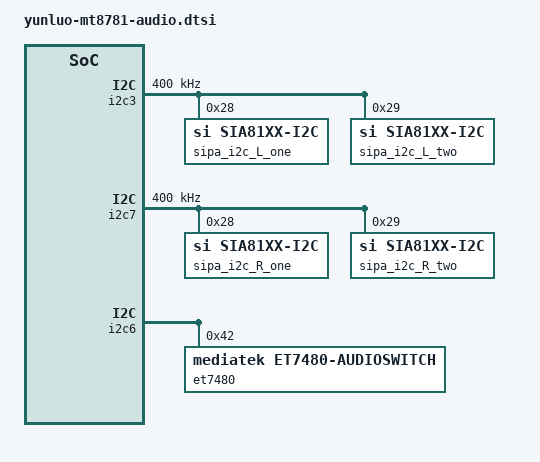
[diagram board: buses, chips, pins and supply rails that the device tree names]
/* Copyright (c) 2018, The Linux Foundation. All rights reserved.
 *
 * This program is free software; you can redistribute it and/or modify
 * it under the terms of the GNU General Public License version 2 and
 * only version 2 as published by the Free Software Foundation.
 *
 * This program is distributed in the hope that it will be useful,
 * but WITHOUT ANY WARRANTY; without even the implied warranty of
 * MERCHANTABILITY or FITNESS FOR A PARTICULAR PURPOSE.  See the
 * GNU General Public License for more details.
 */


&odm {
	si_pa_L_one: si_pa_L_one{
		compatible = "si,sia81xx";
		si,si_pa_type = "sia81x9";
		si,si_pa_disable_pin = <1>;
		channel_num = <0>;
                owi_mode = <1>;
		};
	si_pa_L_two: si_pa_L_two{
		compatible = "si,sia81xx";
		si,si_pa_type = "sia81x9";
		si,si_pa_disable_pin = <1>;
		channel_num = <1>;
                owi_mode = <1>;
		};
	si_pa_R_one: si_pa_R_one{
		compatible = "si,sia81xx";
		si,si_pa_type = "sia81x9";
		si,si_pa_disable_pin = <1>;
		channel_num = <2>;
                owi_mode = <1>;
		};
	si_pa_R_two: si_pa_R_two{
		compatible = "si,sia81xx";
		si,si_pa_type = "sia81x9";
		si,si_pa_disable_pin = <1>;
		channel_num = <3>;
                owi_mode = <1>;
		};
 };
&sound {
	si,sia81xx-max-num = <4>;
	si,sia81xx-aux-devs = <&si_pa_L_one>,<&si_pa_L_two>,<&si_pa_R_one>,<&si_pa_R_two>;
	si,sia81xx-aux-devs-prefix = "SpkrLeft One","SpkrLeft Two","SpkrRight One","SpkrRight Two";
};

&i2c3 {
	pinctrl-names = "default";
	pinctrl-0 = <&i2c3_pin>;
	#address-cells = <1>;
	#size-cells = <0>;
	clock-frequency = <400000>;
	mediatek,use-open-drain;

	sipa_i2c_L_one: sipa_i2c@28{
		compatible = "si,sia81xx-i2c";
		reg = <0x28>;
		si,sipa-dev = <&si_pa_L_one>;
		status = "okay";
		};

	sipa_i2c_L_two: sipa_i2c@29{
		compatible = "si,sia81xx-i2c";
		reg = <0x29>;
		si,sipa-dev = <&si_pa_L_two>;
		status = "okay";
		};
};

&i2c7{
    #address-cells = <1>;
    #size-cells = <0>;
	clock-frequency = <400000>;
	mediatek,use-open-drain;

	sipa_i2c_R_one: sipa_i2c@28{
		compatible = "si,sia81xx-i2c";
		reg = <0x28>;
		si,sipa-dev = <&si_pa_R_one>;
		status = "okay";
		};

	sipa_i2c_R_two: sipa_i2c@29{
		compatible = "si,sia81xx-i2c";
		reg = <0x29>;
		si,sipa-dev = <&si_pa_R_two>;
		status = "okay";
		};
};

&pio {
	i2c3_pin: i2c3_pin {
		pins_cmd_dat {
			pinmux = <PINMUX_GPIO137__FUNC_SDA3>,
				 <PINMUX_GPIO136__FUNC_SCL3>;
				 bias-pull-up;
		};
	};
};

/* Audio Switch start */
&pio {
	uart_gpio_enable: uart_gpio_enable@gpio111 {
		pins_cmd_dat {
			pinmux = <PINMUX_GPIO111__FUNC_GPIO111>;
			slew-rate = <1>;
			bias-disable;
			output-low;
		};
	};

	uart_gpio_disable: uart_gpio_disable@gpio111 {
		pins_cmd_dat {
			pinmux = <PINMUX_GPIO111__FUNC_GPIO111>;
			slew-rate = <1>;
			bias-disable;
			output-high;
		};
	};
};

&i2c6 {
	et7480: et7480@42 {
		status = "ok";
		compatible = "mediatek,et7480-audioswitch";
		reg = <0x42>;
		pinctrl-names = "uart_enable", "uart_disable";
		pinctrl-0 = <&uart_gpio_enable>;
		pinctrl-1 = <&uart_gpio_disable>;
	};
};

&accdet {
	/* accdet micbias voltage: 0x09:2.85v 0x08:2.8v 0x07,
	 * 2.7v;0x05,2.5v;0x02,1.9v
	 */
	accdet-mic-vol = <5>;

	/*1:ACC mode, 2:low cost without in bias, 6:low cost with in bias*/
	accdet-mic-mode = <1>;

	et7480-i2c-handle = <&et7480>;
};
/* Audio Switch end */

